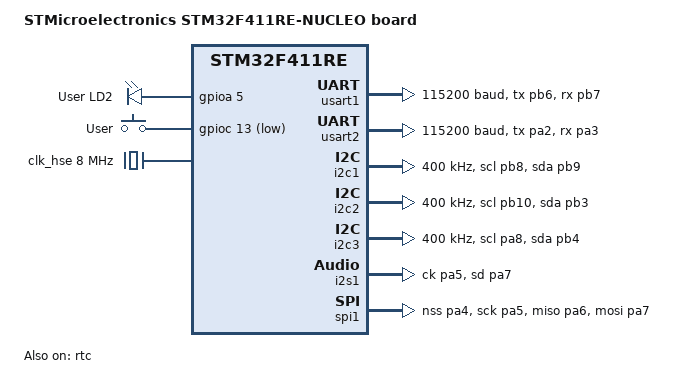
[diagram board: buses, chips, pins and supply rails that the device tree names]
/*
 * Copyright (c) 2017 Linaro Limited
 *
 * SPDX-License-Identifier: Apache-2.0
 */

/dts-v1/;
#include <st/f4/stm32f411Xe.dtsi>
#include <st/f4/stm32f411r(c-e)tx-pinctrl.dtsi>
#include "arduino_r3_connector.dtsi"

/ {
	model = "STMicroelectronics STM32F411RE-NUCLEO board";
	compatible = "st,stm32f411re-nucleo";

	chosen {
		zephyr,console = &usart2;
		zephyr,shell-uart = &usart2;
		zephyr,sram = &sram0;
		zephyr,flash = &flash0;
	};

	leds {
		compatible = "gpio-leds";
		green_led_2: led_2 {
			gpios = <&gpioa 5 GPIO_ACTIVE_HIGH>;
			label = "User LD2";
		};
	};

	gpio_keys {
		compatible = "gpio-keys";
		user_button: button {
			label = "User";
			gpios = <&gpioc 13 GPIO_ACTIVE_LOW>;
		};
	};

	aliases {
		led0 = &green_led_2;
		sw0 = &user_button;
	};
};

&clk_lsi {
	status = "okay";
};

&clk_hse {
	hse-bypass;
	clock-frequency = <DT_FREQ_M(8)>; /* STLink 8MHz clock */
	status = "okay";
};

&pll {
	div-m = <8>;
	mul-n = <384>;
	div-p = <4>;
	div-q = <8>;
	clocks = <&clk_hse>;
	status = "okay";
};

&rcc {
	clocks = <&pll>;
	clock-frequency = <DT_FREQ_M(96)>;
	ahb-prescaler = <1>;
	apb1-prescaler = <2>;
	apb2-prescaler = <1>;
};

&usart1 {
	pinctrl-0 = <&usart1_tx_pb6 &usart1_rx_pb7>;
	pinctrl-names = "default";
	current-speed = <115200>;
	status = "okay";
};

&usart2 {
	pinctrl-0 = <&usart2_tx_pa2 &usart2_rx_pa3>;
	pinctrl-names = "default";
	current-speed = <115200>;
	status = "okay";
};

&i2c1 {
	pinctrl-0 = <&i2c1_scl_pb8 &i2c1_sda_pb9>;
	pinctrl-names = "default";
	status = "okay";
	clock-frequency = <I2C_BITRATE_FAST>;
};

&i2c2 {
	pinctrl-0 = <&i2c2_scl_pb10 &i2c2_sda_pb3>;
	pinctrl-names = "default";
	clock-frequency = <I2C_BITRATE_FAST>;
};

&i2c3 {
	pinctrl-0 = <&i2c3_scl_pa8 &i2c3_sda_pb4>;
	pinctrl-names = "default";
	clock-frequency = <I2C_BITRATE_FAST>;
};

&i2s1 {
	pinctrl-0 = <&i2s1_ck_pa5 &i2s1_sd_pa7>;
	pinctrl-names = "default";
};

&spi1 {
	pinctrl-0 = <&spi1_nss_pa4 &spi1_sck_pa5
		     &spi1_miso_pa6 &spi1_mosi_pa7>;
	pinctrl-names = "default";
	status = "okay";
};

&rtc {
	clocks = <&rcc STM32_CLOCK_BUS_APB1 0x10000000>,
		 <&rcc STM32_SRC_LSI RTC_SEL(2)>;
	status = "okay";
};
